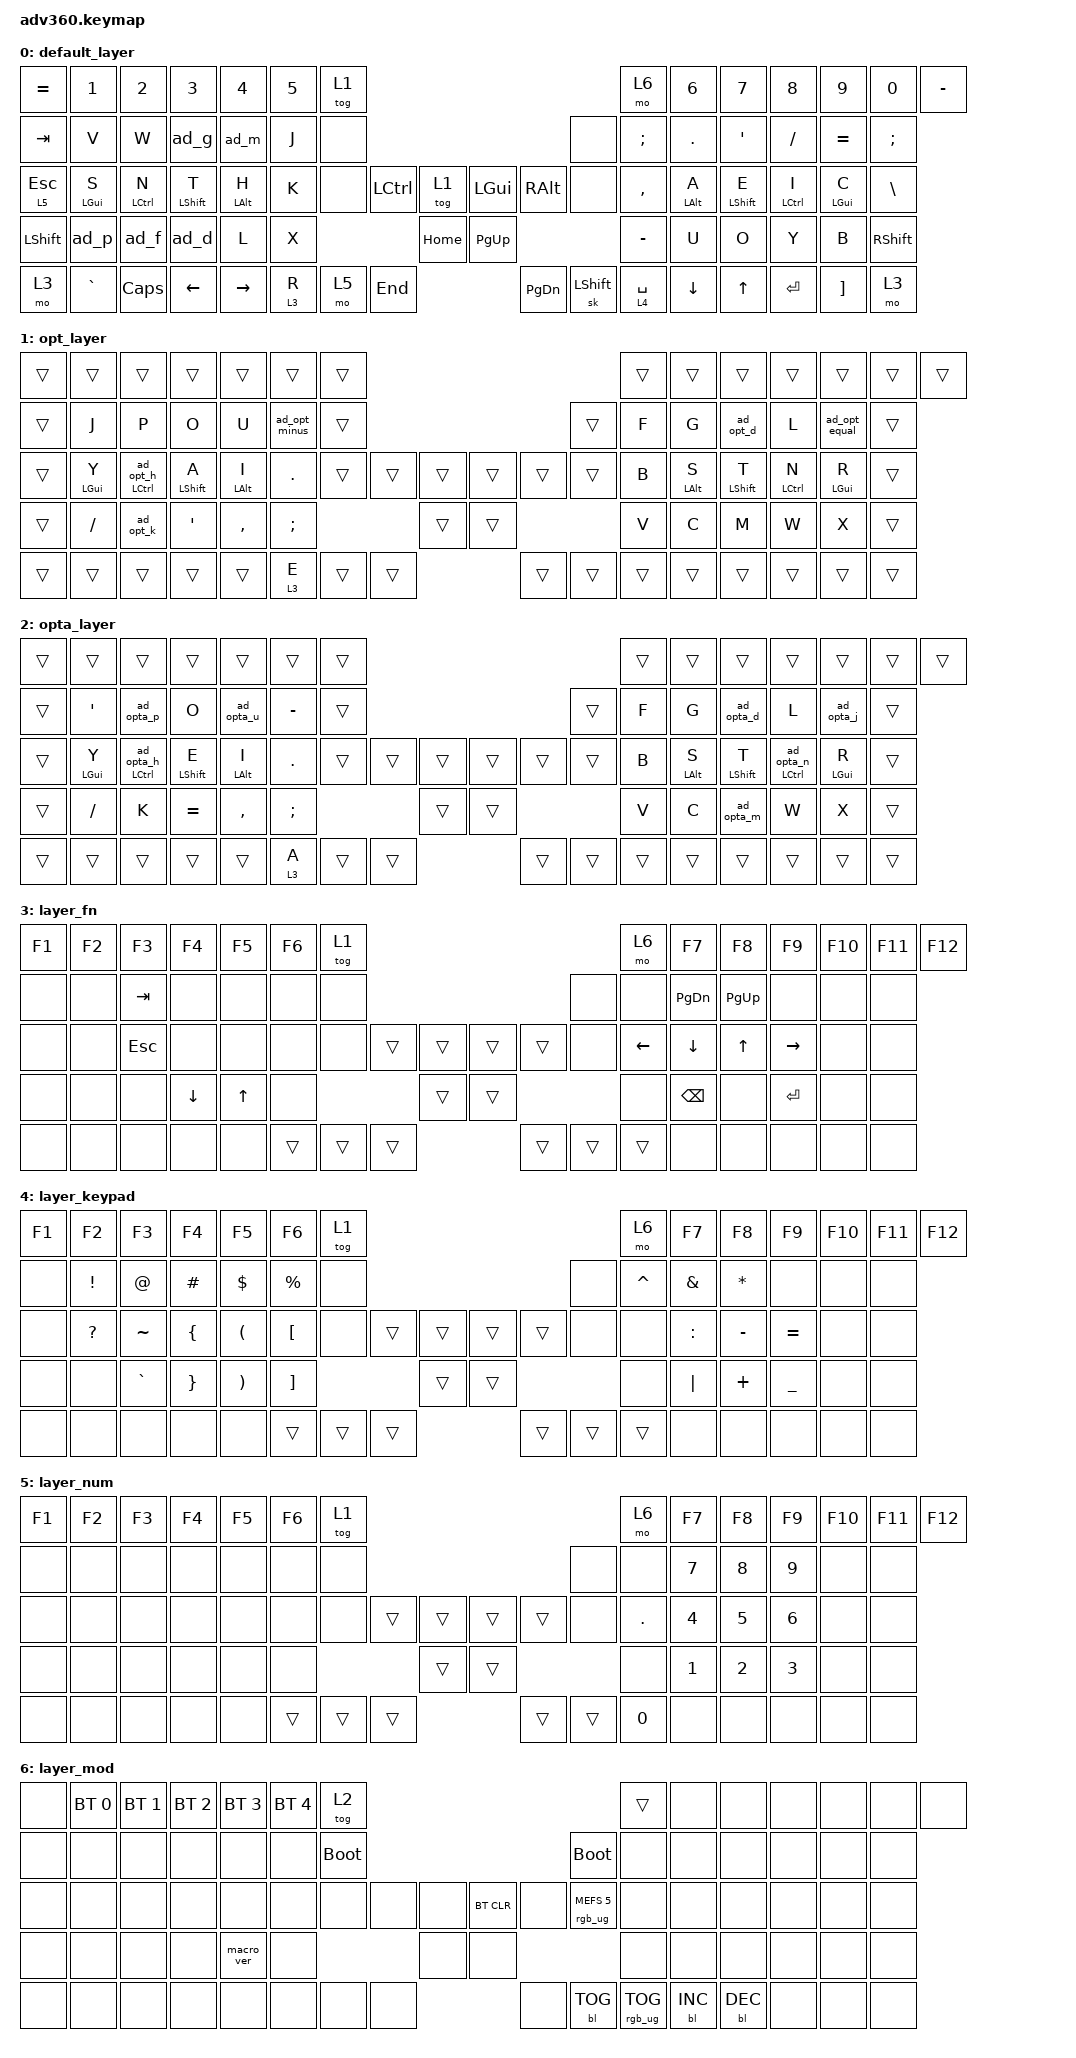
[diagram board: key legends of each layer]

/*
 * Copyright (c) 2020 The ZMK Contributors
 *
 * SPDX-License-Identifier: MIT
 */


/* THIS FILE WAS GENERATED!
 *
 * This file was generated automatically. You may or may not want to
 * edit it directly.
 */

#include <behaviors.dtsi>
#include <dt-bindings/zmk/keys.h>
#include <dt-bindings/zmk/bt.h>
#include <dt-bindings/zmk/rgb.h>
#include <dt-bindings/zmk/backlight.h>

&sk {
    release-after-ms = <1000>;
    quick-release;
};

/ {
  macros {
        m_wh: m_wh {
            compatible = "zmk,behavior-macro";
            #binding-cells = <0>;
            wait-ms = <0>;
            tap-ms = <0>;
            bindings = <&macro_tap &kp W &kp H>;
        };
        m_th: m_th {
            compatible = "zmk,behavior-macro";
            #binding-cells = <0>;
            wait-ms = <0>;
            tap-ms = <0>;
            bindings = <&macro_tap &kp T &kp H>;
        };
        m_ch: m_ch {
            compatible = "zmk,behavior-macro";
            #binding-cells = <0>;
            wait-ms = <0>;
            tap-ms = <0>;
            bindings = <&macro_tap &kp C &kp H>;
        };
        m_sh: m_sh {
            compatible = "zmk,behavior-macro";
            #binding-cells = <0>;
            wait-ms = <0>;
            tap-ms = <0>;
            bindings = <&macro_tap &kp S &kp H>;
        };
        m_ph: m_ph {
            compatible = "zmk,behavior-macro";
            #binding-cells = <0>;
            wait-ms = <0>;
            tap-ms = <0>;
            bindings = <&macro_tap &kp P &kp H>;
        };
        m_gh: m_gh {
            compatible = "zmk,behavior-macro";
            #binding-cells = <0>;
            wait-ms = <0>;
            tap-ms = <0>;
            bindings = <&macro_tap &kp G &kp H>;
        };
        m_qu: m_qu {
            compatible = "zmk,behavior-macro";
            #binding-cells = <0>;
            wait-ms = <0>;
            tap-ms = <0>;
            bindings = <&macro_tap &kp Q &kp U>;
        };
        m_lg: m_lg {
            compatible = "zmk,behavior-macro";
            #binding-cells = <0>;
            wait-ms = <0>;
            tap-ms = <0>;
            bindings = <&macro_tap &kp BSPC &kp L &kp G>;
        };
        m_mp: m_mp {
            compatible = "zmk,behavior-macro";
            #binding-cells = <0>;
            wait-ms = <0>;
            tap-ms = <0>;
            bindings = <&macro_tap &kp BSPC &kp M &kp P>;
        };
        m_wd: m_wd {
            compatible = "zmk,behavior-macro";
            #binding-cells = <0>;
            wait-ms = <0>;
            tap-ms = <0>;
            bindings = <&macro_tap &kp BSPC &kp W &kp D>;
        };
        m_pg: m_pg {
            compatible = "zmk,behavior-macro";
            #binding-cells = <0>;
            wait-ms = <0>;
            tap-ms = <0>;
            bindings = <&macro_tap &kp BSPC &kp P &kp G>;
        };
        m_iw: m_iw {
            compatible = "zmk,behavior-macro";
            #binding-cells = <0>;
            wait-ms = <0>;
            tap-ms = <0>;
            bindings = <&macro_tap &kp BSPC &kp I &kp W>;
        };
        m_sp: m_sp {
            compatible = "zmk,behavior-macro";
            #binding-cells = <0>;
            wait-ms = <0>;
            tap-ms = <0>;
            bindings = <&macro_tap &kp BSPC &kp S &kp P>;
        };
    };
  combos {
        compatible = "zmk,combos";
        combo_z{
            timeout-ms = <45>;
            layers = <0>;
            key-positions = <16 17>;
            bindings = <&kp Z>;
        };
        combo_q {
            timeout-ms = <45>;
            layers = <0>;
            key-positions = <17 18>;
            bindings = <&kp Q>;
        };
        combo_qu {
            timeout-ms = <45>;
            layers = <0>;
            key-positions = <16 18>;
            bindings = <&m_qu>;
        };
        // OPT (1) and OPTA (2) layers: Z = M+W, Q = C+M, QU = C+W on the right bottom row
        combo_z_opt {
            timeout-ms = <45>;
            layers = <1 2>;
            key-positions = <56 57>;
            bindings = <&kp Z>;
        };
        combo_q_opt {
            timeout-ms = <45>;
            layers = <1 2>;
            key-positions = <55 56>;
            bindings = <&kp Q>;
        };
        combo_qu_opt {
            timeout-ms = <45>;
            layers = <1 2>;
            key-positions = <55 57>;
            bindings = <&m_qu>;
        };
    };
  behaviors {
    #include "macros.dtsi"
    #include "version.dtsi"

    hm: homerow_mods {
        compatible = "zmk,behavior-hold-tap";
        label = "HOMEROW_MODS";
        #binding-cells = <2>;
        tapping-term-ms = <200>;
        quick_tap_ms = <175>;
        flavor = "tap-preferred";
        bindings = <&kp>, <&kp>;
    };

    ad_m: adaptive_m {
        compatible = "zmk,behavior-antecedent-morph";
        label = "ADAPTIVE_M";
        #binding-cells = <0>;
        defaults = <&kp M>;
        bindings = <&kp L>, <&kp L>;

        antecedents = <G P>;
        max-delay-ms = <200>;
    };

    ad_g: adaptive_g {
        compatible = "zmk,behavior-antecedent-morph";
        label = "ADAPTIVE_G";
        #binding-cells = <0>;
        defaults = <&kp G>;
        bindings = <&m_lg>, <&m_pg>;

        antecedents = <M W>;
        max-delay-ms = <200>;
    };

    ad_ha: adaptive_ha {
        compatible = "zmk,behavior-antecedent-morph";
        label = "ADAPTIVE_H";
        #binding-cells = <0>;
        defaults = <&kp H>;
        bindings = <&kp U>, <&kp U>;

        antecedents = <A>;
        max-delay-ms = <200>;
    };

    ad_a: adaptive_a {
        compatible = "zmk,behavior-antecedent-morph";
        label = "ADAPTIVE_A";
        #binding-cells = <0>;
        defaults = <&kp A>;
        bindings = <&kp U>, <&kp U>;

        antecedents = <H>;
        max-delay-ms = <200>;
    };

    ad_f: adaptive_f {
        compatible = "zmk,behavior-antecedent-morph";
        label = "ADAPTIVE_F";
        #binding-cells = <0>;
        defaults = <&kp F>;
        bindings = <&kp G>, <&kp S>;

        antecedents = <D B>;
        max-delay-ms = <200>;
    };

    ad_p: adaptive_p {
        compatible = "zmk,behavior-antecedent-morph";
        label = "ADAPTIVE_P";
        #binding-cells = <0>;
        defaults = <&kp P>;
        bindings = <&m_sp>, <&kp S>;

        antecedents = <F>;
        max-delay-ms = <200>;
    };

    ad_y: adaptive_y {
        compatible = "zmk,behavior-antecedent-morph";
        label = "ADAPTIVE_Y";
        #binding-cells = <0>;
        defaults = <&kp Y>;
        bindings = <&kp I>;

        antecedents = <W>;
        max-delay-ms = <200>;
    };

    ad_w: adaptive_w {
        compatible = "zmk,behavior-antecedent-morph";
        label = "ADAPTIVE_W";
        #binding-cells = <0>;
        defaults = <&kp W>;
        bindings = <&m_iw>;

        antecedents = <Y>;
        max-delay-ms = <200>;
    };

    ad_d: adaptive_d {
        compatible = "zmk,behavior-antecedent-morph";
        label = "ADAPTIVE_D";
        #binding-cells = <0>;
        defaults = <&kp D>;
        bindings = <&m_wd>;

        antecedents = <F>;
        max-delay-ms = <200>;
    };

    // OPT layer adaptives: S,D -> sc   W,K -> wn   B,H -> bl   U,H -> ui   L,H -> lm   E,- -> ee   O,= -> ok
    ad_opt_d: adaptive_opt_d {
        compatible = "zmk,behavior-antecedent-morph";
        #binding-cells = <0>;
        defaults = <&kp D>;
        bindings = <&kp C>;
        antecedents = <S>;
        max-delay-ms = <200>;
    };

    ad_opt_k: adaptive_opt_k {
        compatible = "zmk,behavior-antecedent-morph";
        #binding-cells = <0>;
        defaults = <&kp K>;
        bindings = <&kp N>;
        antecedents = <W>;
        max-delay-ms = <200>;
    };

    ad_opt_h: adaptive_opt_h {
        compatible = "zmk,behavior-antecedent-morph";
        #binding-cells = <0>;
        defaults = <&kp H>;
        bindings = <&kp L>, <&kp I>, <&kp M>;
        antecedents = <B U L>;
        max-delay-ms = <200>;
    };

    ad_opt_minus: adaptive_opt_minus {
        compatible = "zmk,behavior-antecedent-morph";
        #binding-cells = <0>;
        defaults = <&kp MINUS>;
        bindings = <&kp E>;
        antecedents = <E>;
        max-delay-ms = <200>;
    };

    ad_opt_equal: adaptive_opt_equal {
        compatible = "zmk,behavior-antecedent-morph";
        #binding-cells = <0>;
        defaults = <&kp EQUAL>;
        bindings = <&kp K>;       // O then = types "ok" (no ring/middle scissor)
        antecedents = <O>;
        max-delay-ms = <200>;
    };

    // home-row mod whose tap is the adaptive H (used as &hm_opt_h LCTRL 0)
    hm_opt_h: homerow_mod_opt_h {
        compatible = "zmk,behavior-hold-tap";
        #binding-cells = <2>;
        tapping-term-ms = <200>;
        quick-tap-ms = <175>;
        flavor = "tap-preferred";
        bindings = <&kp>, <&ad_opt_h>;
    };

    // OPTA layer adaptives (analyzer greedy search): sc, bl, ui, wn, cl, eo, ph, ok
    ad_opta_d: adaptive_opta_d {
        compatible = "zmk,behavior-antecedent-morph";
        #binding-cells = <0>;
        defaults = <&kp D>;
        bindings = <&kp C>;       // S then D types "sc"
        antecedents = <S>;
        max-delay-ms = <200>;
    };

    ad_opta_h: adaptive_opta_h {
        compatible = "zmk,behavior-antecedent-morph";
        #binding-cells = <0>;
        defaults = <&kp H>;
        bindings = <&kp L>, <&kp I>;       // B,H -> "bl"   U,H -> "ui"
        antecedents = <B U>;
        max-delay-ms = <200>;
    };

    ad_opta_m: adaptive_opta_m {
        compatible = "zmk,behavior-antecedent-morph";
        #binding-cells = <0>;
        defaults = <&kp M>;
        bindings = <&kp N>;       // W then M types "wn"
        antecedents = <W>;
        max-delay-ms = <200>;
    };

    ad_opta_p: adaptive_opta_p {
        compatible = "zmk,behavior-antecedent-morph";
        #binding-cells = <0>;
        defaults = <&kp P>;
        bindings = <&kp L>;       // C then P types "cl" (no index-to-ring scissor)
        antecedents = <C>;
        max-delay-ms = <200>;
    };

    ad_opta_u: adaptive_opta_u {
        compatible = "zmk,behavior-antecedent-morph";
        #binding-cells = <0>;
        defaults = <&kp U>;
        bindings = <&kp O>;       // E then U types "eo" (for "eu", pause after E)
        antecedents = <E>;
        max-delay-ms = <200>;
    };

    ad_opta_n: adaptive_opta_n {
        compatible = "zmk,behavior-antecedent-morph";
        #binding-cells = <0>;
        defaults = <&kp N>;
        bindings = <&kp H>;       // P then N types "ph"
        antecedents = <P>;
        max-delay-ms = <200>;
    };

    ad_opta_j: adaptive_opta_j {
        compatible = "zmk,behavior-antecedent-morph";
        #binding-cells = <0>;
        defaults = <&kp J>;
        bindings = <&kp K>;       // O then J types "ok" (for "oj" as in project, pause after O)
        antecedents = <O>;
        max-delay-ms = <200>;
    };

    // home-row mods whose taps are OPTA adaptives (used as &hm_opta_x MOD 0)
    hm_opta_h: homerow_mod_opta_h {
        compatible = "zmk,behavior-hold-tap";
        #binding-cells = <2>;
        tapping-term-ms = <200>;
        quick-tap-ms = <175>;
        flavor = "tap-preferred";
        bindings = <&kp>, <&ad_opta_h>;
    };

    hm_opta_n: homerow_mod_opta_n {
        compatible = "zmk,behavior-hold-tap";
        #binding-cells = <2>;
        tapping-term-ms = <200>;
        quick-tap-ms = <175>;
        flavor = "tap-preferred";
        bindings = <&kp>, <&ad_opta_n>;
    };

    ad_fslh: adaptive_fslh {
        compatible = "zmk,behavior-antecedent-morph";
        label = "ADAPTIVE_FSLH";
        #binding-cells = <0>;
        defaults = <&kp FSLH>;
        bindings = <&kp U>;

        antecedents = <A>;
        max-delay-ms = <200>;
    };
  };

    keymap {
        compatible = "zmk,keymap";


        default_layer {
            bindings = <
     &kp EQUAL  &kp N1         &kp N2       &kp N3        &kp N4      &kp N5             &tog 1                                                                &mo 6  &kp N6         &kp N7      &kp N8        &kp N9       &kp N0      &kp MINUS
   &kp TAB  &kp V          &kp W        &ad_g         &ad_m       &kp J              &none                                                                 &none  &kp SEMICOLON  &kp PERIOD  &kp APOS      &kp FSLH     &kp EQUAL   &kp SEMICOLON
 &lt 5 ESC  &hm LGUI S     &hm LCTRL N  &hm LSHIFT T  &hm LALT H  &kp K              &none      &kp LCTRL  &tog 1           &kp LGUI   &kp RALT            &none  &kp COMMA      &hm LALT A  &hm LSHIFT E  &hm LCTRL I  &hm LGUI C  &kp BSLH
 &kp LSHFT  &ad_p          &ad_f        &ad_d         &kp L       &kp X                                    &kp HOME         &kp PG_UP                             &kp MINUS      &kp U       &kp O         &kp Y        &kp B       &kp RSHFT
     &mo 3  &kp GRAVE      &kp CAPS     &kp LEFT      &kp RIGHT                      &lt 3 R    &mo 5      &kp END          &kp PG_DN  &sk LSHFT &lt 4 SPACE                     &kp DOWN    &kp UP        &kp ENTER    &kp RBKT    &mo 3
            >;
        };

        // OPT (layer 1, &tog 1): analyzer optimum from corne-zmk-config (E on the thumb, vowels on the left)
        //   j p o u -   f g d l =
        //   y h a i .   b s t n r
        //   / k ' , ;   v c m w x      thumb: E (hold: fn)
        opt_layer {
            bindings = <
 &trans  &trans  &trans  &trans  &trans  &trans  &trans                                                                &trans  &trans    &trans     &trans     &trans   &trans    &trans
 &trans  &kp J   &kp P   &kp O   &kp U   &ad_opt_minus  &trans                                                         &trans  &kp F     &kp G      &ad_opt_d  &kp L    &ad_opt_equal &trans
 &trans  &hm LGUI Y  &hm_opt_h LCTRL 0  &hm LSHIFT A  &hm LALT I  &kp PERIOD  &trans   &trans  &trans          &trans  &trans       &trans  &kp B  &hm LALT S  &hm LSHIFT T  &hm LCTRL N  &hm LGUI R  &trans
 &trans  &kp FSLH  &ad_opt_k  &kp APOS  &kp COMMA  &kp SEMI                      &trans                  &trans                      &kp V     &kp C      &kp M      &kp W    &kp X     &trans
 &trans  &trans  &trans  &trans  &trans                   &lt 3 E  &trans  &trans          &trans  &trans   &trans                      &trans     &trans     &trans   &trans    &trans
            >;
        };

        // OPTA (layer 2, Mod + the &tog 1 key): OPT with A on the thumb and E on the home row
        //   ' p o u -   f g d l j
        //   y h e i .   b s t n r
        //   / k = , ;   v c m w x      thumb: A (hold: fn)
        // Right-hand consonants and combos match OPT.
        // Adaptives: S,D -> sc   B,H -> bl   U,H -> ui   W,M -> wn   C,P -> cl   E,U -> eo   P,N -> ph   O,J -> ok
        opta_layer {
            bindings = <
 &trans  &trans  &trans  &trans  &trans  &trans  &trans                                                                &trans  &trans    &trans     &trans     &trans   &trans    &trans
 &trans  &kp APOS  &ad_opta_p  &kp O  &ad_opta_u  &kp MINUS  &trans                                                    &trans  &kp F     &kp G      &ad_opta_d &kp L    &ad_opta_j &trans
 &trans  &hm LGUI Y  &hm_opta_h LCTRL 0  &hm LSHIFT E  &hm LALT I  &kp PERIOD  &trans   &trans  &trans          &trans  &trans       &trans  &kp B  &hm LALT S  &hm LSHIFT T  &hm_opta_n LCTRL 0  &hm LGUI R  &trans
 &trans  &kp FSLH  &kp K  &kp EQUAL  &kp COMMA  &kp SEMI                         &trans                  &trans                      &kp V     &kp C      &ad_opta_m &kp W    &kp X     &trans
 &trans  &trans  &trans  &trans  &trans                   &lt 3 A  &trans  &trans          &trans  &trans   &trans                      &trans     &trans     &trans   &trans    &trans
            >;
        };

        layer_fn {
            bindings = <
 &kp F1  &kp F2  &kp F3    &kp F4    &kp F5  &kp F6  &tog 1                                                                &mo 6  &kp F7    &kp F8     &kp F9         &kp F10    &kp F11  &kp F12
 &none   &none   &kp TAB   &none     &none   &none   &none                                                                 &none  &none     &kp PG_DN  &kp PG_UP      &none      &none    &none
 &none   &none   &kp ESC   &none     &none   &none   &none            &trans  &trans                  &trans  &trans       &none  &kp LEFT  &kp DOWN   &kp UP         &kp RIGHT  &none    &none
 &none   &none   &none     &kp DOWN  &kp UP  &none                            &trans                  &trans                      &none     &kp BSPC   &none          &kp ENTER  &none    &none
 &none   &none   &none     &none     &none                    &trans  &trans  &trans                  &trans  &trans  &trans                &none      &none          &none      &none    &none
            >;
        };

        layer_keypad {
            bindings = <
 &kp F1  &kp F2    &kp F3     &kp F4    &kp F5    &kp F6     &tog 1                                                                &mo 6  &kp F7     &kp F8     &kp F9     &kp F10    &kp F11  &kp F12
 &none   &kp EXCL  &kp AT     &kp HASH  &kp DLLR  &kp PRCNT  &none                                                                 &none  &kp CARET  &kp AMPS   &kp STAR   &none      &none    &none
 &none   &kp QMARK &kp TILDE  &kp LBRC  &kp LPAR  &kp LBKT   &none            &trans  &trans                  &trans  &trans       &none  &none      &kp COLON  &kp MINUS  &kp EQUAL  &none    &none
 &none   &none     &kp GRAVE  &kp RBRC  &kp RPAR  &kp RBKT                            &trans                  &trans                      &none      &kp PIPE   &kp PLUS   &kp UNDER  &none    &none
 &none   &none     &none      &none     &none                         &trans  &trans  &trans                  &trans  &trans  &trans                 &none      &none      &none      &none    &none
            >;
        };

        layer_num {
            bindings = <
 &kp F1  &kp F2  &kp F3    &kp F4    &kp F5  &kp F6  &tog 1                                                         &mo 6  &kp F7       &kp F8  &kp F9         &kp F10    &kp F11  &kp F12
 &none   &none   &none  &none  &none  &none   &none                                                                 &none  &none        &kp N7  &kp N8  &kp N9  &none &none
 &none   &none   &none  &none  &none  &none   &none            &trans  &trans                  &trans  &trans       &none  &kp PERIOD   &kp N4  &kp N5  &kp N6  &none &none
 &none   &none   &none  &none  &none  &none                            &trans                  &trans                      &none        &kp N1  &kp N2  &kp N3  &none &none
 &none   &none   &none  &none  &none                   &trans  &trans  &trans                  &trans  &trans  &kp N0                   &none   &none           &none   &none    &none
            >;
        };

        layer_mod {
            bindings = <
  &none  &bt BT_SEL 0  &bt BT_SEL 1  &bt BT_SEL 2  &bt BT_SEL 3  &bt BT_SEL 4                  &tog 2                                                                          &trans   &none       &none       &none   &none   &none   &none
  &none         &none         &none         &none         &none         &none            &bootloader                                                                     &bootloader   &none       &none       &none   &none   &none   &none
  &none         &none         &none         &none         &none         &none                  &none   &none   &none                  &bt BT_CLR       &none  &rgb_ug RGB_MEFS_CMD 5   &none       &none       &none   &none   &none   &none
  &none         &none         &none         &none    &macro_ver         &none                                  &none                       &none                                       &none       &none       &none   &none   &none   &none
  &none         &none         &none         &none         &none                                &none   &none   &none                       &none  &bl BL_TOG         &rgb_ug RGB_TOG          &bl BL_INC  &bl BL_DEC   &none   &none   &none
            >;
        };
    };
};
